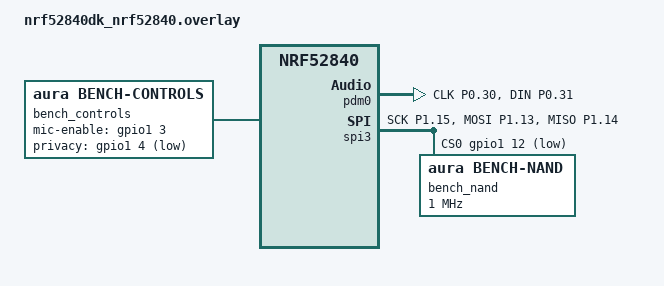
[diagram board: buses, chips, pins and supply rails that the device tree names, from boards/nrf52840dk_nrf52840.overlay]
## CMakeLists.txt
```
cmake_minimum_required(VERSION 3.20.0)
list(APPEND DTS_ROOT ${CMAKE_CURRENT_SOURCE_DIR} ${CMAKE_CURRENT_SOURCE_DIR}/../drivers)
set(DTC_OVERLAY_FILE "${CMAKE_CURRENT_SOURCE_DIR}/boards/nrf52840dk_nrf52840.overlay")
find_package(Zephyr REQUIRED HINTS $ENV{ZEPHYR_BASE})
project(aura_a04_hardware_bench)
if(NOT CONFIG_SOC_NRF52840 OR NOT CONFIG_BOARD_NRF52840DK OR CONFIG_BT)
    message(FATAL_ERROR "Separate wired bench application requires nrf52840dk/nrf52840 and no Bluetooth")
endif()
add_subdirectory(../drivers ${CMAKE_CURRENT_BINARY_DIR}/aura-drivers)
include(../cmake/opus-profile.cmake)
target_link_libraries(opus PUBLIC zephyr_interface)
target_compile_options(opus PRIVATE -ffunction-sections -fdata-sections -fstack-usage)
target_include_directories(app PRIVATE ../include)
target_sources(app PRIVATE src/main.c ../src/aura_opus.c ../src/aura_archive.c
    ../src/aura_journal.c ../src/aura_recorder.c ../src/aura_audio_zephyr.c
    ../src/aura_w25n01gv.c ../src/aura_w25n01gv_zephyr.c ../src/aura_control.c
    ../src/aura_release_auth.c ../src/aura_storage.c)
target_compile_options(app PRIVATE -fstack-usage -Wall -Wextra)
set_source_files_properties(src/main.c PROPERTIES COMPILE_OPTIONS "-Werror")
target_link_libraries(app PRIVATE opus)
```

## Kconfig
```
mainmenu "AURA A04 separate wired hardware bench"
source "Kconfig.zephyr"
rsource "../drivers/Kconfig"
```

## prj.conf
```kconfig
CONFIG_STD_C11=y
CONFIG_PRINTK=y
CONFIG_CONSOLE=y
CONFIG_SERIAL=y
CONFIG_UART_CONSOLE=y
CONFIG_UART_INTERRUPT_DRIVEN=y
CONFIG_GPIO=y
CONFIG_SPI=y
CONFIG_HWINFO=y
CONFIG_AUDIO=y
CONFIG_AUDIO_DMIC=y
CONFIG_AUDIO_DMIC_NRFX_PDM=n
CONFIG_AURA_DMIC_NRFX_PDM=y
CONFIG_BT=n
CONFIG_MAIN_STACK_SIZE=2048
CONFIG_SYSTEM_WORKQUEUE_STACK_SIZE=2048
CONFIG_HEAP_MEM_POOL_SIZE=0
CONFIG_THREAD_STACK_INFO=y
CONFIG_INIT_STACKS=y
CONFIG_MPU_STACK_GUARD=y
CONFIG_ASSERT=y
CONFIG_SIZE_OPTIMIZATIONS=y
CONFIG_BUILD_OUTPUT_BIN=y
CONFIG_BUILD_OUTPUT_HEX=y
CONFIG_LOG=n
```

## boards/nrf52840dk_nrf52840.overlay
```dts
/* SPDX-License-Identifier: MIT */
/* External unqualified bench wiring only. See ../WIRING.md. */
#include <zephyr/dt-bindings/gpio/gpio.h>
#include <zephyr/dt-bindings/pinctrl/nrf-pinctrl.h>
/ {
    bench_controls: bench-controls {
        compatible = "aura,bench-controls";
        mic-enable-gpios = <&gpio1 3 GPIO_ACTIVE_HIGH>;
        privacy-gpios = <&gpio1 4 (GPIO_ACTIVE_LOW | GPIO_PULL_UP)>;
    };
};
&spi1 { status = "disabled"; }; /* Default pins collide with PDM. */
&pwm0 { status = "disabled"; }; /* LED0 belongs to the bench application. */
&i2c1 { status = "disabled"; };
&uart1 { status = "disabled"; };
&pinctrl {
    bench_pdm_default: bench_pdm_default {
        group1 { psels = <NRF_PSEL(PDM_CLK, 0, 30)>, <NRF_PSEL(PDM_DIN, 0, 31)>; };
    };
    bench_spi_default: bench_spi_default {
        group1 { psels = <NRF_PSEL(SPIM_SCK, 1, 15)>, <NRF_PSEL(SPIM_MOSI, 1, 13)>,
                        <NRF_PSEL(SPIM_MISO, 1, 14)>; };
    };
    bench_spi_sleep: bench_spi_sleep {
        group1 { psels = <NRF_PSEL(SPIM_SCK, 1, 15)>, <NRF_PSEL(SPIM_MOSI, 1, 13)>,
                        <NRF_PSEL(SPIM_MISO, 1, 14)>;
                 low-power-enable; };
    };
};
&pdm0 {
    compatible = "aura,nrf-pdm";
    status = "okay";
    pinctrl-0 = <&bench_pdm_default>;
    pinctrl-names = "default";
    clock-source = "PCLK32M_HFXO";
    queue-size = <4>;
};
&spi3 {
    status = "okay";
    pinctrl-0 = <&bench_spi_default>;
    pinctrl-1 = <&bench_spi_sleep>;
    pinctrl-names = "default", "sleep";
    cs-gpios = <&gpio1 12 GPIO_ACTIVE_LOW>;
    bench_nand: nand@0 {
        compatible = "aura,bench-nand";
        reg = <0>;
        spi-max-frequency = <1000000>;
    };
};
```

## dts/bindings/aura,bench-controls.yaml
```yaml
description: Explicit external wired-bench power enable and privacy sense
compatible: "aura,bench-controls"
include: base.yaml
properties:
  mic-enable-gpios:
    type: phandle-array
    required: true
    description: Native active-high GPIO driving an external load switch enable
  privacy-gpios:
    type: phandle-array
    required: true
    description: Native active-low pulled-up sense, contact closed to ground permits capture
```

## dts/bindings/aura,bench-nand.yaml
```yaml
description: A04 bench W25N01GV accessed only by the explicit application adapter
compatible: "aura,bench-nand"
include: spi-device.yaml
```

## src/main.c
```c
/* SPDX-License-Identifier: MIT */
/* nRF52840 DK wired bench application. Cold boot initializes/reads real NAND;
 * PDM and array writes require explicit local commands. Never flash AURA.
 * No radio, battery, charger, automatic format or audio-release capability. */
#include <zephyr/kernel.h>
#include <zephyr/drivers/uart.h>
#include <zephyr/drivers/hwinfo.h>
#include <zephyr/sys/printk.h>
#include <zephyr/sys/byteorder.h>
#include "aura_audio_zephyr.h"
#include "aura_w25n01gv_zephyr.h"
#include "aura_storage.h"
#include "aura_journal_cursor.h"
#include <errno.h>
#include <stdarg.h>
#include <stdio.h>
#include <stdlib.h>
#include <string.h>

#define REQUEST_BYTES 256u
#define MAX_CAPTURE_MS 60000u
static const struct device *const uart = DEVICE_DT_GET(DT_CHOSEN(zephyr_console));
static const struct gpio_dt_spec mic = GPIO_DT_SPEC_GET(DT_NODELABEL(bench_controls), mic_enable_gpios);
static const struct gpio_dt_spec privacy = GPIO_DT_SPEC_GET(DT_NODELABEL(bench_controls), privacy_gpios);
static const struct gpio_dt_spec led = GPIO_DT_SPEC_GET(DT_ALIAS(led0), gpios);
static const struct spi_dt_spec spi = SPI_DT_SPEC_GET(DT_NODELABEL(bench_nand),
                                                     SPI_WORD_SET(8) | SPI_TRANSFER_MSB, 0);
static struct aura_w25n01gv_zephyr nand;
static struct aura_storage storage;
static struct aura_control control;
static struct aura_journal journal = {.active=-1};
static struct aura_journal_cursor export_cursor;
static struct aura_recorder recorder;
static struct aura_audio_zephyr audio;
static uint8_t snapshot[AURA_STORAGE_STATE_BYTES], device_id[16], capture_id[16];
static union { max_align_t alignment; uint8_t bytes[AURA_OPUS_STATE_LIMIT]; } encoder;
static struct gpio_callback privacy_callback;
static struct k_thread reader_thread, storage_thread;
K_THREAD_STACK_DEFINE(reader_stack, 4096);
K_THREAD_STACK_DEFINE(storage_stack, 49152);
struct request { char line[REQUEST_BYTES]; atomic_val_t stop_generation; };
K_MSGQ_DEFINE(requests, sizeof(struct request), 2, 4);
static struct request rx;
static size_t rx_size;
static bool discard_line;
static atomic_t cancellation, session_generation, startup_pending, capture_gate, initialized, rx_fault;
static int boot_fault;
static uint64_t epoch, started_ms;
static uint32_t service_max_us, late_services, fifo_high_water;
static bool have_stop_reply;
static uint32_t stop_reply_id;

/* Exactly one storage owner writes complete protocol lines. ISR/reader never
 * format or transmit; they only publish atomic state or bounded commands. */
static void reply(uint32_t id, const char *format, ...)
{
    char line[384];
    int prefix = snprintf(line, sizeof(line), "A04B %08x ", id);
    va_list arguments; va_start(arguments, format);
    int length = vsnprintf(line + prefix, sizeof(line) - (size_t)prefix - 1, format, arguments);
    va_end(arguments);
    if (length < 0 || (size_t)length >= sizeof(line) - (size_t)prefix - 1) {
        length = snprintf(line + prefix, sizeof(line) - (size_t)prefix, "ERROR %d", -EMSGSIZE);
    }
    size_t used = (size_t)prefix + (size_t)length;
    line[used++] = '\n';
    for (size_t i = 0; i < used; ++i) uart_poll_out(uart, line[i]);
}
static int nibble(char value)
{
    if (value >= '0' && value <= '9') return value - '0';
    if (value >= 'a' && value <= 'f') return value - 'a' + 10;
    if (value >= 'A' && value <= 'F') return value - 'A' + 10;
    return -1;
}
static int unhex(const char *text, uint8_t *bytes, size_t count)
{
    if (!text || strlen(text) != count * 2) return -EINVAL;
    for (size_t i = 0; i < count; ++i) {
        int high = nibble(text[2*i]), low = nibble(text[2*i+1]);
        if (high < 0 || low < 0) return -EINVAL;
        bytes[i] = (uint8_t)(high * 16 + low);
    }
    return 0;
}
static void hex(const uint8_t *bytes, size_t count, char *out)
{
    const char digits[] = "0123456789abcdef";
    for (size_t i = 0; i < count; ++i) { out[i*2] = digits[bytes[i] >> 4]; out[i*2+1] = digits[bytes[i] & 15]; }
    out[count*2] = 0;
}
static bool valid_prefix(const char *line)
{
    if (strlen(line) < 15 || memcmp(line, "A04B ", 5) || line[13] != ' ') return false;
    for (unsigned i = 5; i < 13; ++i) if (nibble(line[i]) < 0) return false;
    return true;
}
static void cancel_capture(bool physical)
{
    atomic_inc(&cancellation);
    if (atomic_get(&initialized)) {
        if (physical) aura_audio_zephyr_privacy_cutoff(&audio);
        else aura_audio_zephyr_request_stop(&audio);
    }
}
static void receive_byte(uint8_t value)
{
    if (value == '\r') return;
    if (value == '\n') {
        if (!discard_line) {
            rx.line[rx_size] = 0;
            if (valid_prefix(rx.line)) {
                if (!strcmp(rx.line + 14, "STOP")) cancel_capture(false);
                rx.stop_generation = atomic_get(&cancellation);
                if (k_msgq_put(&requests, &rx, K_NO_WAIT)) atomic_set(&rx_fault, 1);
            } else atomic_set(&rx_fault, 1);
        }
        memset(&rx, 0, sizeof(rx)); rx_size = 0; discard_line = false;
    } else if (value < 32 || value > 126 || rx_size >= sizeof(rx.line) - 1) {
        discard_line = true; atomic_set(&rx_fault, 1);
    } else if (!discard_line) rx.line[rx_size++] = (char)value;
}
static void uart_input(const struct device *port, void *user)
{
    ARG_UNUSED(user);
    if (uart_err_check(port)) { discard_line = true; atomic_set(&rx_fault, 1); }
    while (uart_irq_update(port) && uart_irq_rx_ready(port)) {
        uint8_t bytes[16]; int count = uart_fifo_read(port, bytes, sizeof(bytes));
        if (count <= 0) break;
        for (int i = 0; i < count; ++i) receive_byte(bytes[i]);
    }
}
static bool permitted(void *user)
{
    ARG_UNUSED(user);
    return atomic_get(&capture_gate) &&
           (!atomic_get(&startup_pending) || atomic_get(&session_generation) == atomic_get(&cancellation)) &&
           gpio_pin_get_dt(&privacy) == 1;
}
static void privacy_changed(const struct device *port, struct gpio_callback *callback, gpio_port_pins_t pins)
{
    ARG_UNUSED(port); ARG_UNUSED(callback); ARG_UNUSED(pins);
    if (gpio_pin_get_dt(&privacy) != 1) cancel_capture(true);
}
static bool audio_pending(void)
{
    atomic_val_t state = atomic_get(&audio.state);
    return state == AURA_AUDIO_STARTING || state == AURA_AUDIO_CAPTURING || state == AURA_AUDIO_STOPPING ||
        !atomic_get(&audio.reader_done) || k_msgq_num_used_get(&audio.queue) ||
        recorder.state == AURA_RECORDER_RECORDING;
}
static bool busy(void) { return audio_pending() || journal.active >= 0; }
static void reader(void *one, void *two, void *three)
{
    ARG_UNUSED(one); ARG_UNUSED(two); ARG_UNUSED(three);
    for (;;) {
        if (atomic_get(&audio.reader_enabled)) {
            (void)aura_audio_zephyr_reader_step(&audio);
            if (atomic_get(&audio.state) == AURA_AUDIO_STOPPING) k_msleep(1);
        } else k_msleep(1);
    }
}
static unsigned free_blocks(void)
{
    unsigned count = 0;
    if (storage.ready) for (unsigned i=0; i<journal.io.blocks; ++i)
        count += journal.block_state[i] == AURA_BLOCK_FREE || journal.block_state[i] == AURA_BLOCK_PREPARED;
    return count;
}
static int owner_fault(void)
{
    /* The recorder may fail while sealing after the producer has stopped.
     * The audio adapter's producer fault alone cannot describe that failure. */
    int audio_fault = (int)atomic_get(&audio.fault);
    if (boot_fault) return boot_fault;
    if (storage.fault) return storage.fault;
    if (audio_fault) return audio_fault;
    if (recorder.close_error) return recorder.close_error;
    if (recorder.fault_reason) return recorder.fault_reason;
    return journal.fault;
}
static void info(uint32_t id)
{
    char identity[33]; hex(device_id, 16, identity);
    reply(id, "OK INFO %s %u %d %d %u %u", identity, storage.ready, (int)atomic_get(&audio.state),
          owner_fault(), storage.ready ? journal.count : 0, free_blocks());
}
static void stats(uint32_t id)
{
    size_t reader_free=0, storage_free=0;
    (void)k_thread_stack_space_get(&reader_thread, &reader_free);
    (void)k_thread_stack_space_get(&storage_thread, &storage_free);
    reply(id, "OK STATS %u %u %u %u %u %llu %u %u %u %u %u %u", service_max_us, late_services,
        fifo_high_water, (unsigned)reader_free, (unsigned)storage_free,
        (unsigned long long)(journal.metadata_reads+journal.payload_reads+control.reads),
        nand.device.program_attempts, nand.device.erase_attempts,
        audio.peak[0], audio.peak[1], audio.clipped[0], audio.clipped[1]);
}
static int enroll(const char *argument, bool provision)
{
    uint8_t bytes[88]; int result = unhex(argument, bytes, sizeof(bytes));
    if (result) { memset(bytes, 0, sizeof(bytes)); return result; }
    struct aura_release_auth_context context;
    memcpy(context.device_id, bytes, 16); memcpy(context.storage_incarnation, bytes+16, 16);
    memcpy(context.owner_id, bytes+32, 16); context.owner_generation=sys_get_le64(bytes+48);
    memcpy(context.key, bytes+56, 32); memset(bytes, 0, sizeof(bytes));
    if (memcmp(context.device_id, device_id, 16)) result=-EACCES;
    else {
        struct aura_control_config config = {.blocks={1022,1023}};
        memcpy(config.domain, context.storage_incarnation, 16);
        struct aura_storage_io io = {.data=aura_w25n01gv_zephyr_io(&nand),
            .control=aura_w25n01gv_zephyr_control_io(&nand), .erase_released=NULL};
        if (provision) result=aura_storage_provision(&storage, io, &config, &context,
            &journal, &control, snapshot, sizeof(snapshot));
        else result=aura_storage_open(&storage, io, &config, &context,
            &journal, &control, snapshot, sizeof(snapshot));
    }
    memset(&context, 0, sizeof(context)); return result;
}
static int begin(const struct request *request)
{
    if (epoch==UINT64_MAX || atomic_get(&audio.state)==AURA_AUDIO_QUARANTINED) return -EOVERFLOW;
    atomic_set(&session_generation, request->stop_generation); atomic_set(&startup_pending, 1);
    atomic_set(&capture_gate, 1);
    if (!permitted(NULL)) { atomic_clear(&capture_gate); atomic_clear(&startup_pending); return -EACCES; }
    struct aura_archive_manifest settings={.frame_samples=320,.pre_skip=40}, manifest;
    int result=aura_storage_prepare_capture(&storage, &settings, &manifest);
    if (result) { atomic_clear(&capture_gate); atomic_clear(&startup_pending); return result; }
    memcpy(capture_id, manifest.capture_id, 16); ++epoch;
    service_max_us=late_services=fifo_high_water=0;
    /* Retry only the same reserved manifest. Cancellation remains visible in
     * permitted() across all storage preparation and microphone-start races. */
    do {
        if (!permitted(NULL)) { result=-ECANCELED; break; }
        result=aura_audio_zephyr_begin(&audio, &manifest, epoch);
        if (result==AURA_JOURNAL_RETRY_PREPARE) k_msleep(1);
    } while (result==AURA_JOURNAL_RETRY_PREPARE);
    if (result && journal.active < 0 && journal.binding_pending)
        (void)aura_storage_cancel_prepared(&storage);
    if (result) atomic_clear(&capture_gate);
    else started_ms=(uint64_t)k_uptime_get();
    atomic_clear(&startup_pending);
    return result;
}
struct export { uint32_t request_id; uint64_t offset; };
static int send_data(void *user, uint64_t offset, const uint8_t *bytes, size_t size)
{
    struct export *state=user;
    if (offset!=state->offset) return -EIO;
    while (size) {
        size_t take=MIN(size,128u); char payload[257]; hex(bytes,take,payload);
        reply(state->request_id,"DATA %016llx %s %08x",(unsigned long long)state->offset,
              payload,aura_archive_crc32(bytes,take));
        state->offset+=take; bytes+=take; size-=take;
    }
    return 0;
}
static int export_capture(uint32_t id, const char *argument)
{
    uint8_t identity[32], bytes[128];
    int result=unhex(argument,identity+16,16);
    if(result)goto done;
    memcpy(identity,device_id,16);
    struct export state={.request_id=id};
    result=aura_journal_cursor_open(&export_cursor,&journal,identity);
    if(result)goto done;
    do {
        result=aura_journal_cursor_verify_step(&export_cursor);
        if(result==AURA_CURSOR_PENDING)k_yield();
    } while(result==AURA_CURSOR_PENDING);
    if(result!=AURA_CURSOR_READY){if(result>=0)result=-EIO;goto done;}
    result=aura_journal_cursor_seek(&export_cursor,0);
    if(result)goto done;
    for(;;){
        uint64_t offset=0; size_t size=0;
        result=aura_journal_cursor_read(&export_cursor,bytes,sizeof(bytes),&offset,&size);
        if(result==AURA_CURSOR_PENDING){
            if(size){result=-EIO;goto done;}
            k_yield();continue;
        }
        if(result==AURA_CURSOR_DATA){
            if(!size||size>sizeof(bytes)){result=-EIO;goto done;}
            result=send_data(&state,offset,bytes,size);
            if(result)goto done;
            k_yield();continue;
        }
        if(result){if(result>0)result=-EIO;goto done;}
        if(size){result=-EIO;goto done;}
        break;
    }
    /* Zero from read means EOF and final physical revalidation, not merely
     * that the final DATA line was sent. Keep the wire receipt gated on that. */
    struct aura_journal_cursor_info selected;
    result=aura_journal_cursor_get_info(&export_cursor,&selected);
    if(!result&&(selected.export_bytes!=state.offset||memcmp(selected.manifest+8,identity,32)))result=-EIO;
    if(!result){char encoded[189];hex(selected.physical_receipt,94,encoded);
        reply(id,"END EXPORT %016llx %s",(unsigned long long)state.offset,encoded);}
done:
    aura_journal_cursor_cancel(&export_cursor);
    return result;
}
static void dispatch(struct request *request)
{
    char id_text[9];memcpy(id_text,request->line+5,8);id_text[8]=0;
    uint32_t id=(uint32_t)strtoul(id_text,NULL,16);
    char *verb=request->line+14,*argument=strchr(verb,' ');
    if(argument){*argument++=0;if(!*argument||strchr(argument,' ')){reply(id,"ERROR %d",-EINVAL);return;}}
    if(!strcmp(verb,"INFO")&&!argument){info(id);return;}
    if(!strcmp(verb,"STOP")&&!argument){
        if(have_stop_reply){reply(id,"ERROR %d",-EBUSY);return;}
        aura_audio_zephyr_request_stop(&audio); have_stop_reply=true;stop_reply_id=id;return;
    }
    if(!strcmp(verb,"STATS")&&!argument&&!audio_pending()){stats(id);return;}
    if(busy()||have_stop_reply){reply(id,"ERROR %d",-EBUSY);return;}
    if(boot_fault){reply(id,"ERROR %d",boot_fault);return;}
    int result;
    if((!strcmp(verb,"PROVISION")||!strcmp(verb,"OPEN"))&&argument){
        result=enroll(argument,!strcmp(verb,"PROVISION"));
        if(!result)reply(id,"OK %s",verb);
    }else if(!storage.ready){result=-EACCES;
    }else if(!strcmp(verb,"LIST")&&!argument){
        for(unsigned i=0;i<journal.count;++i){
            (void)aura_journal_verify(&journal,(uint16_t)i);
            char manifest[137];hex(journal.captures[i].manifest,68,manifest);
            reply(id,"ITEM %s %u %u",manifest,journal.captures[i].verification,journal.captures[i].blocks);
        }
        reply(id,"END LIST %u",journal.count);return;
    }else if(!strcmp(verb,"START")&&!argument){
        result=begin(request);
        if(!result){char identity[33];hex(capture_id,16,identity);reply(id,"OK START %s",identity);}
    }else if(!strcmp(verb,"EXPORT")&&argument){result=export_capture(id,argument);
    }else result=-EINVAL;
    if(result)reply(id,"ERROR %d",result);
}
static void owner(void *one,void *two,void *three)
{
    ARG_UNUSED(one);ARG_UNUSED(two);ARG_UNUSED(three);
    boot_fault=aura_w25n01gv_zephyr_init(&nand,&spi);
    if(!boot_fault)boot_fault=aura_w25n01gv_zephyr_configure_control(&nand,1022,1023);
    for(;;){
        atomic_val_t current=atomic_get(&audio.state);
        if(current==AURA_AUDIO_CAPTURING&&(uint64_t)k_uptime_get()-started_ms>=MAX_CAPTURE_MS)
            aura_audio_zephyr_request_stop(&audio);
        if(audio_pending()){
            unsigned queued=k_msgq_num_used_get(&audio.queue);if(queued>fifo_high_water)fifo_high_water=queued;
            uint32_t started=k_cycle_get_32();(void)aura_audio_zephyr_service(&audio);
            uint32_t duration=k_cyc_to_us_floor32(k_cycle_get_32()-started);
            if(duration>service_max_us)service_max_us=duration;
            if(duration>20000)++late_services;
        }
        bool active=audio_pending();
        (void)gpio_pin_set_dt(&led,active&&atomic_get(&capture_gate));
        if(!active){
            atomic_clear(&capture_gate);
            if(have_stop_reply){char identity[33];hex(capture_id,16,identity);
                reply(stop_reply_id,"OK STOP %d %d %s",(int)atomic_get(&audio.state),
                      owner_fault(),identity);have_stop_reply=false;}
        }
        struct request request;
        if(!k_msgq_get(&requests,&request,K_NO_WAIT)){dispatch(&request);memset(&request,0,sizeof(request));}
        if(atomic_cas(&rx_fault,1,0))reply(0,"ERROR %d",-EMSGSIZE);
        k_msleep(1);
    }
}
int main(void)
{
    if(!device_is_ready(uart)||!gpio_is_ready_dt(&privacy)||!gpio_is_ready_dt(&led))return -ENODEV;
    uint8_t uid[8],message[32]={0},digest[32];
    if(hwinfo_get_device_id(uid,sizeof(uid))!=sizeof(uid))return -ENODEV;
    memcpy(message,"AURA-A04-BENCH-DEVICE-v1",24);memcpy(message+24,uid,8);
    aura_archive_sha256(message,sizeof(message),digest);memcpy(device_id,digest,16);
    int result=gpio_pin_configure_dt(&privacy,GPIO_INPUT);
    if(!result)result=gpio_pin_configure_dt(&led,GPIO_OUTPUT_INACTIVE);
    if(!result)result=aura_recorder_init(&recorder,&journal,encoder.bytes,sizeof(encoder.bytes));
    if(!result)result=aura_audio_zephyr_init(&audio,DEVICE_DT_GET(DT_NODELABEL(pdm0)),mic,
                                          permitted,NULL,&recorder,AURA_AUDIO_MEAN);
    if(result)return result;
    atomic_set(&initialized,1);
    gpio_init_callback(&privacy_callback,privacy_changed,BIT(privacy.pin));
    result=gpio_add_callback(privacy.port,&privacy_callback);
    if(!result)result=gpio_pin_interrupt_configure_dt(&privacy,GPIO_INT_EDGE_BOTH);
    if(result)return result;
    result=uart_irq_callback_user_data_set(uart,uart_input,NULL);if(result)return result;
    printk("AURA wired bench only; microphone off; explicit host OPEN/PROVISION and START required.\n");
    uart_irq_rx_enable(uart);
    k_thread_create(&reader_thread,reader_stack,K_THREAD_STACK_SIZEOF(reader_stack),
                    reader,NULL,NULL,NULL,K_PRIO_PREEMPT(4),0,K_NO_WAIT);
    k_thread_create(&storage_thread,storage_stack,K_THREAD_STACK_SIZEOF(storage_stack),
                    owner,NULL,NULL,NULL,K_PRIO_PREEMPT(7),0,K_NO_WAIT);
    return 0;
}
```
